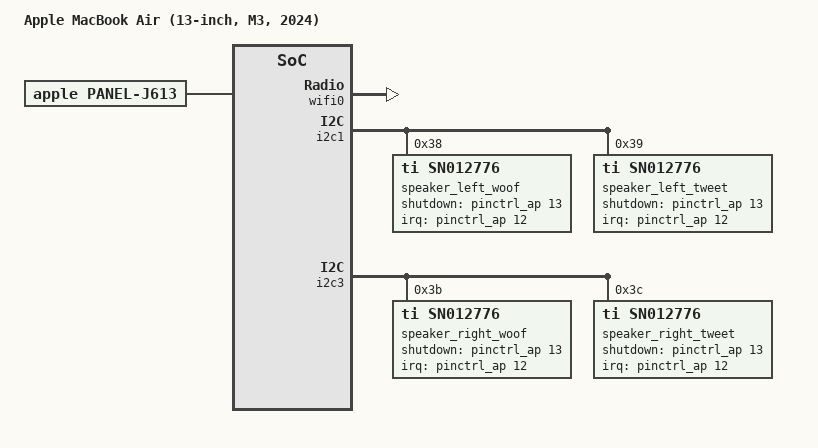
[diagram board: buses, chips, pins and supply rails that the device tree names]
// SPDX-License-Identifier: GPL-2.0+ OR MIT
/*
 * Apple MacBook Air (13-inch, M3, 2024)
 *
 * target-type: J613
 *
 * Copyright The Asahi Linux Contributors
 */

/dts-v1/;

#include "t8122.dtsi"
#include "t8122-j613-j615.dtsi"
#include <dt-bindings/thermal/thermal.h>

/ {
	compatible = "apple,j613", "apple,t8122", "apple,arm-platform";
	model = "Apple MacBook Air (13-inch, M3, 2024)";

	/*
	 * Fanless: every die sensor throttles both clusters, E weighted 3:1
	 * and capped at state 3. Trips as on the J700; sustainable-power from
	 * J613 load tests.
	 */
	thermal-zones {
		cpu-e0-thermal {
			polling-delay-passive = <500>;
			polling-delay = <500>;
			thermal-sensors = <&smc_hwmon 0>;	/* Te05 */
			sustainable-power = <6000>;

			trips {
				cpu_e0_alert: trip-alert {
					temperature = <58000>;
					hysteresis = <2000>;
					type = "passive";
				};

				cpu_e0_control: trip-control {
					temperature = <95000>;
					hysteresis = <2000>;
					type = "passive";
				};

				trip-critical {
					temperature = <110000>;
					hysteresis = <0>;
					type = "critical";
				};
			};

			cooling-maps {
				map0 {
					trip = <&cpu_e0_control>;
					cooling-device =
						<&cpu_p0 THERMAL_NO_LIMIT THERMAL_NO_LIMIT>,
						<&cpu_p1 THERMAL_NO_LIMIT THERMAL_NO_LIMIT>,
						<&cpu_p2 THERMAL_NO_LIMIT THERMAL_NO_LIMIT>,
						<&cpu_p3 THERMAL_NO_LIMIT THERMAL_NO_LIMIT>;
					contribution = <1024>;
				};

				map1 {
					trip = <&cpu_e0_control>;
					cooling-device =
						<&cpu_e0 THERMAL_NO_LIMIT 3>,
						<&cpu_e1 THERMAL_NO_LIMIT 3>,
						<&cpu_e2 THERMAL_NO_LIMIT 3>,
						<&cpu_e3 THERMAL_NO_LIMIT 3>;
					contribution = <3072>;
				};
			};
		};

		cpu-e1-thermal {
			polling-delay-passive = <500>;
			polling-delay = <500>;
			thermal-sensors = <&smc_hwmon 1>;	/* Te0P */
			sustainable-power = <6000>;

			trips {
				cpu_e1_alert: trip-alert {
					temperature = <58000>;
					hysteresis = <2000>;
					type = "passive";
				};

				cpu_e1_control: trip-control {
					temperature = <95000>;
					hysteresis = <2000>;
					type = "passive";
				};

				trip-critical {
					temperature = <110000>;
					hysteresis = <0>;
					type = "critical";
				};
			};

			cooling-maps {
				map0 {
					trip = <&cpu_e1_control>;
					cooling-device =
						<&cpu_p0 THERMAL_NO_LIMIT THERMAL_NO_LIMIT>,
						<&cpu_p1 THERMAL_NO_LIMIT THERMAL_NO_LIMIT>,
						<&cpu_p2 THERMAL_NO_LIMIT THERMAL_NO_LIMIT>,
						<&cpu_p3 THERMAL_NO_LIMIT THERMAL_NO_LIMIT>;
					contribution = <1024>;
				};

				map1 {
					trip = <&cpu_e1_control>;
					cooling-device =
						<&cpu_e0 THERMAL_NO_LIMIT 3>,
						<&cpu_e1 THERMAL_NO_LIMIT 3>,
						<&cpu_e2 THERMAL_NO_LIMIT 3>,
						<&cpu_e3 THERMAL_NO_LIMIT 3>;
					contribution = <3072>;
				};
			};
		};

		cpu-p0-thermal {
			polling-delay-passive = <500>;
			polling-delay = <500>;
			thermal-sensors = <&smc_hwmon 2>;	/* Tp05 */
			sustainable-power = <6000>;

			trips {
				cpu_p0_alert: trip-alert {
					temperature = <58000>;
					hysteresis = <2000>;
					type = "passive";
				};

				cpu_p0_control: trip-control {
					temperature = <95000>;
					hysteresis = <2000>;
					type = "passive";
				};

				trip-critical {
					temperature = <110000>;
					hysteresis = <0>;
					type = "critical";
				};
			};

			cooling-maps {
				map0 {
					trip = <&cpu_p0_control>;
					cooling-device =
						<&cpu_p0 THERMAL_NO_LIMIT THERMAL_NO_LIMIT>,
						<&cpu_p1 THERMAL_NO_LIMIT THERMAL_NO_LIMIT>,
						<&cpu_p2 THERMAL_NO_LIMIT THERMAL_NO_LIMIT>,
						<&cpu_p3 THERMAL_NO_LIMIT THERMAL_NO_LIMIT>;
					contribution = <1024>;
				};

				map1 {
					trip = <&cpu_p0_control>;
					cooling-device =
						<&cpu_e0 THERMAL_NO_LIMIT 3>,
						<&cpu_e1 THERMAL_NO_LIMIT 3>,
						<&cpu_e2 THERMAL_NO_LIMIT 3>,
						<&cpu_e3 THERMAL_NO_LIMIT 3>;
					contribution = <3072>;
				};
			};
		};

		cpu-p1-thermal {
			polling-delay-passive = <500>;
			polling-delay = <500>;
			thermal-sensors = <&smc_hwmon 3>;	/* Tp0L */
			sustainable-power = <6000>;

			trips {
				cpu_p1_alert: trip-alert {
					temperature = <58000>;
					hysteresis = <2000>;
					type = "passive";
				};

				cpu_p1_control: trip-control {
					temperature = <95000>;
					hysteresis = <2000>;
					type = "passive";
				};

				trip-critical {
					temperature = <110000>;
					hysteresis = <0>;
					type = "critical";
				};
			};

			cooling-maps {
				map0 {
					trip = <&cpu_p1_control>;
					cooling-device =
						<&cpu_p0 THERMAL_NO_LIMIT THERMAL_NO_LIMIT>,
						<&cpu_p1 THERMAL_NO_LIMIT THERMAL_NO_LIMIT>,
						<&cpu_p2 THERMAL_NO_LIMIT THERMAL_NO_LIMIT>,
						<&cpu_p3 THERMAL_NO_LIMIT THERMAL_NO_LIMIT>;
					contribution = <1024>;
				};

				map1 {
					trip = <&cpu_p1_control>;
					cooling-device =
						<&cpu_e0 THERMAL_NO_LIMIT 3>,
						<&cpu_e1 THERMAL_NO_LIMIT 3>,
						<&cpu_e2 THERMAL_NO_LIMIT 3>,
						<&cpu_e3 THERMAL_NO_LIMIT 3>;
					contribution = <3072>;
				};
			};
		};

		cpu-p2-thermal {
			polling-delay-passive = <500>;
			polling-delay = <500>;
			thermal-sensors = <&smc_hwmon 4>;	/* Tp0b */
			sustainable-power = <6000>;

			trips {
				cpu_p2_alert: trip-alert {
					temperature = <58000>;
					hysteresis = <2000>;
					type = "passive";
				};

				cpu_p2_control: trip-control {
					temperature = <95000>;
					hysteresis = <2000>;
					type = "passive";
				};

				trip-critical {
					temperature = <110000>;
					hysteresis = <0>;
					type = "critical";
				};
			};

			cooling-maps {
				map0 {
					trip = <&cpu_p2_control>;
					cooling-device =
						<&cpu_p0 THERMAL_NO_LIMIT THERMAL_NO_LIMIT>,
						<&cpu_p1 THERMAL_NO_LIMIT THERMAL_NO_LIMIT>,
						<&cpu_p2 THERMAL_NO_LIMIT THERMAL_NO_LIMIT>,
						<&cpu_p3 THERMAL_NO_LIMIT THERMAL_NO_LIMIT>;
					contribution = <1024>;
				};

				map1 {
					trip = <&cpu_p2_control>;
					cooling-device =
						<&cpu_e0 THERMAL_NO_LIMIT 3>,
						<&cpu_e1 THERMAL_NO_LIMIT 3>,
						<&cpu_e2 THERMAL_NO_LIMIT 3>,
						<&cpu_e3 THERMAL_NO_LIMIT 3>;
					contribution = <3072>;
				};
			};
		};

		cpu-p3-thermal {
			polling-delay-passive = <500>;
			polling-delay = <500>;
			thermal-sensors = <&smc_hwmon 5>;	/* Tp0r */
			sustainable-power = <6000>;

			trips {
				cpu_p3_alert: trip-alert {
					temperature = <58000>;
					hysteresis = <2000>;
					type = "passive";
				};

				cpu_p3_control: trip-control {
					temperature = <95000>;
					hysteresis = <2000>;
					type = "passive";
				};

				trip-critical {
					temperature = <110000>;
					hysteresis = <0>;
					type = "critical";
				};
			};

			cooling-maps {
				map0 {
					trip = <&cpu_p3_control>;
					cooling-device =
						<&cpu_p0 THERMAL_NO_LIMIT THERMAL_NO_LIMIT>,
						<&cpu_p1 THERMAL_NO_LIMIT THERMAL_NO_LIMIT>,
						<&cpu_p2 THERMAL_NO_LIMIT THERMAL_NO_LIMIT>,
						<&cpu_p3 THERMAL_NO_LIMIT THERMAL_NO_LIMIT>;
					contribution = <1024>;
				};

				map1 {
					trip = <&cpu_p3_control>;
					cooling-device =
						<&cpu_e0 THERMAL_NO_LIMIT 3>,
						<&cpu_e1 THERMAL_NO_LIMIT 3>,
						<&cpu_e2 THERMAL_NO_LIMIT 3>,
						<&cpu_e3 THERMAL_NO_LIMIT 3>;
					contribution = <3072>;
				};
			};
		};
	};
};

&dcp {
	panel: panel {
		compatible = "apple,panel-j613", "apple,panel";
		/* 2560x1664 at 224 ppi; 64 notch rows above the desktop. */
		width-mm = <290>;
		height-mm = <189>;
		adj-height-mm = <181>;
		apple,max-brightness = <525>;
	};
};

&wifi0 {
	brcm,board-type = "apple,dnieper";
};

&bluetooth0 {
	brcm,board-type = "apple,dnieper";
};

&aop_audio {
	apple,chassis-name = "J613";
};

&i2c1 {
	speaker_left_woof: codec@38 {
		compatible = "ti,sn012776", "ti,tas2764";
		reg = <0x38>;
		shutdown-gpios = <&pinctrl_ap 13 GPIO_ACTIVE_HIGH>;
		#sound-dai-cells = <0>;
		sound-name-prefix = "Left Woofer";
		interrupts-extended = <&pinctrl_ap 12 IRQ_TYPE_LEVEL_LOW>;
		ti,imon-slot-no = <0>;
		ti,vmon-slot-no = <2>;
	};

	speaker_left_tweet: codec@39 {
		compatible = "ti,sn012776", "ti,tas2764";
		reg = <0x39>;
		shutdown-gpios = <&pinctrl_ap 13 GPIO_ACTIVE_HIGH>;
		#sound-dai-cells = <0>;
		sound-name-prefix = "Left Tweeter";
		interrupts-extended = <&pinctrl_ap 12 IRQ_TYPE_LEVEL_LOW>;
		ti,imon-slot-no = <8>;
		ti,vmon-slot-no = <10>;
	};
};

&i2c3 {
	speaker_right_woof: codec@3b {
		compatible = "ti,sn012776", "ti,tas2764";
		reg = <0x3b>;
		shutdown-gpios = <&pinctrl_ap 13 GPIO_ACTIVE_HIGH>;
		#sound-dai-cells = <0>;
		sound-name-prefix = "Right Woofer";
		interrupts-extended = <&pinctrl_ap 12 IRQ_TYPE_LEVEL_LOW>;
		ti,imon-slot-no = <4>;
		ti,vmon-slot-no = <6>;
	};

	speaker_right_tweet: codec@3c {
		compatible = "ti,sn012776", "ti,tas2764";
		reg = <0x3c>;
		shutdown-gpios = <&pinctrl_ap 13 GPIO_ACTIVE_HIGH>;
		#sound-dai-cells = <0>;
		sound-name-prefix = "Right Tweeter";
		interrupts-extended = <&pinctrl_ap 12 IRQ_TYPE_LEVEL_LOW>;
		ti,imon-slot-no = <12>;
		ti,vmon-slot-no = <14>;
	};
};

/ {
	sound {
		compatible = "apple,j613-macaudio", "apple,j413-macaudio", "apple,macaudio";
		model = "MacBook Air J613";

		dai-link@0 {
			link-name = "Speakers";
			dai-tdm-idle-mode-0 = "zero";
			dai-tdm-idle-mode-2 = "zero";
			dai-tdm-slot-tx-idle-mask-0 = <0x0f0f>;
			dai-tdm-slot-tx-idle-mask-2 = <0xf0f0>;

			cpu {
				sound-dai = <&mca 0>, <&mca 1>;
			};
			codec {
				sound-dai = <&speaker_left_woof>, <&speaker_left_tweet>,
					    <&speaker_right_woof>, <&speaker_right_tweet>;
			};
		};

		dai-link@1 {
			link-name = "Headphone Jack";

			cpu {
				sound-dai = <&mca 2>;
			};
			codec {
				sound-dai = <&jack_codec>;
			};
		};
	};
};

&mtp_mt {
	firmware-name = "apple/tpmtfw-j613.bin";
};

&mesa {
	/* Per-device factory data from this Mac's own iBoot system container. */
	firmware-name = "apple/mesacal-j613.bin";
};
